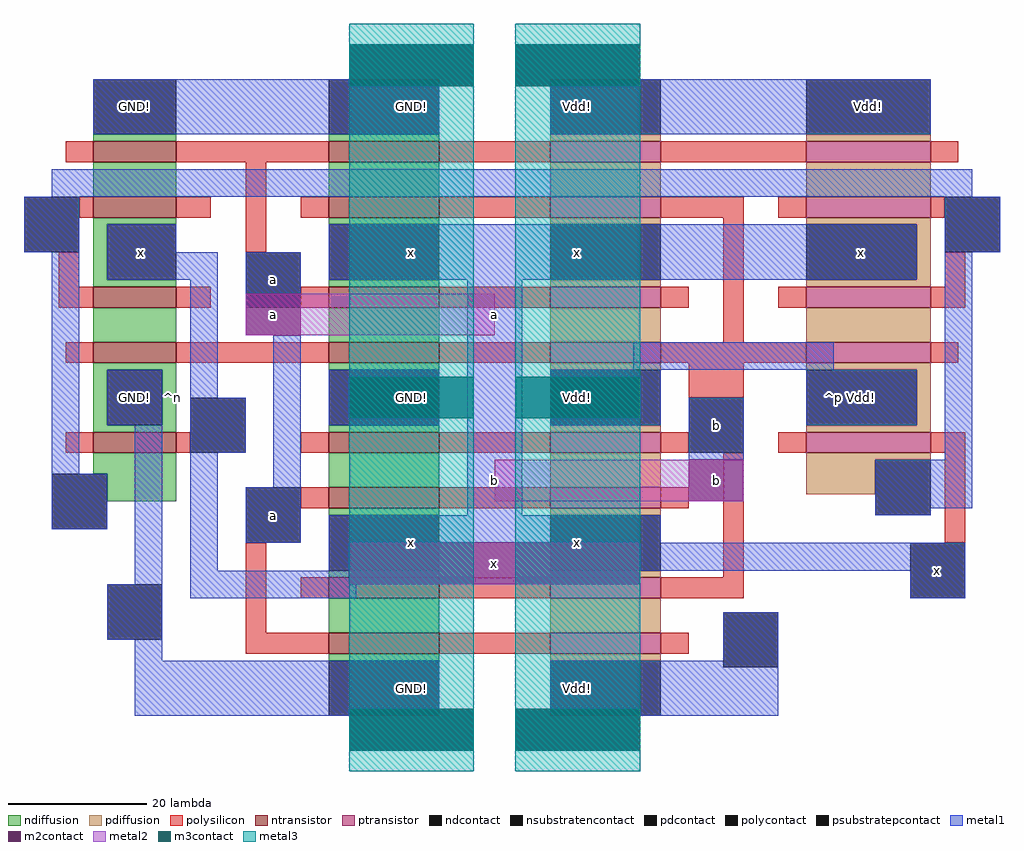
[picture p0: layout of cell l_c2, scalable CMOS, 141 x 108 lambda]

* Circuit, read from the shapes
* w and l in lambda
.subckt l_c2 GND! Vdd! a b x
M1 GND! x n1 GND! nfet w=12 l=3
M2 n2 b GND! GND! nfet w=12 l=3
M3 x n1 n2 GND! nfet w=12 l=3
M4 n3 n1 x GND! nfet w=12 l=3
M5 GND! a n3 GND! nfet w=12 l=3
M6 n4 a GND! GND! nfet w=16 l=3
M7 x b n4 GND! nfet w=16 l=3
M8 n5 a x GND! nfet w=16 l=3
M9 GND! b n5 GND! nfet w=16 l=3
M10 n6 b GND! GND! nfet w=16 l=3
M11 x a n6 GND! nfet w=16 l=3
M12 n7 b x GND! nfet w=16 l=3
M13 GND! a n7 GND! nfet w=16 l=3
M14 n8 a Vdd! Vdd! pfet w=16 l=3
M15 x b n8 Vdd! pfet w=16 l=3
M16 n9 a x Vdd! pfet w=16 l=3
M17 Vdd! b n9 Vdd! pfet w=16 l=3
M18 n10 b Vdd! Vdd! pfet w=16 l=3
M19 x a n10 Vdd! pfet w=16 l=3
M20 n11 b x Vdd! pfet w=16 l=3
M21 Vdd! a n11 Vdd! pfet w=16 l=3
M22 Vdd! x n1 Vdd! pfet w=18 l=3
M23 n12 b Vdd! Vdd! pfet w=18 l=3
M24 x n1 n12 Vdd! pfet w=18 l=3
M25 n13 n1 x Vdd! pfet w=18 l=3
M26 Vdd! a n13 Vdd! pfet w=18 l=3
.ends

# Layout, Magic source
magic
tech scmos
<< ndiffusion >>
rect -58 70 -46 71
rect -24 70 -8 71
rect -58 62 -46 67
rect -58 58 -46 59
rect -58 50 -56 58
rect -58 49 -46 50
rect -24 62 -8 67
rect -24 58 -8 59
rect -24 49 -8 50
rect -58 41 -46 46
rect -24 41 -8 46
rect -58 37 -46 38
rect -58 29 -56 37
rect -48 29 -46 37
rect -24 37 -8 38
rect -58 28 -46 29
rect -24 28 -8 29
rect -58 22 -46 25
rect -56 18 -46 22
rect -24 20 -8 25
rect -24 16 -8 17
rect -24 7 -8 8
rect -24 -1 -8 4
rect -24 -5 -8 -4
<< pdiffusion >>
rect 8 70 24 71
rect 45 70 63 71
rect 8 62 24 67
rect 45 62 63 67
rect 8 58 24 59
rect 8 49 24 50
rect 8 41 24 46
rect 45 58 63 59
rect 61 50 63 58
rect 45 49 63 50
rect 45 41 63 46
rect 8 37 24 38
rect 8 28 24 29
rect 45 37 63 38
rect 61 29 63 37
rect 45 28 63 29
rect 8 20 24 25
rect 8 16 24 17
rect 8 7 24 8
rect 45 24 63 25
rect 45 19 55 24
rect 8 -1 24 4
rect 8 -5 24 -4
<< ntransistor >>
rect -58 67 -46 70
rect -24 67 -8 70
rect -58 59 -46 62
rect -24 59 -8 62
rect -58 46 -46 49
rect -24 46 -8 49
rect -58 38 -46 41
rect -24 38 -8 41
rect -58 25 -46 28
rect -24 25 -8 28
rect -24 17 -8 20
rect -24 4 -8 7
rect -24 -4 -8 -1
<< ptransistor >>
rect 8 67 24 70
rect 45 67 63 70
rect 8 59 24 62
rect 45 59 63 62
rect 8 46 24 49
rect 45 46 63 49
rect 8 38 24 41
rect 45 38 63 41
rect 8 25 24 28
rect 45 25 63 28
rect 8 17 24 20
rect 8 4 24 7
rect 8 -4 24 -1
<< polysilicon >>
rect -62 67 -58 70
rect -46 67 -24 70
rect -8 67 8 70
rect 24 67 45 70
rect 63 67 67 70
rect -60 59 -58 62
rect -46 59 -41 62
rect -63 49 -60 54
rect -36 54 -33 67
rect -28 59 -24 62
rect -8 59 8 62
rect 24 59 36 62
rect 41 59 45 62
rect 63 59 65 62
rect -63 46 -58 49
rect -46 46 -41 49
rect -28 46 -24 49
rect -8 46 8 49
rect 24 46 28 49
rect 33 41 36 59
rect 65 49 68 54
rect 41 46 45 49
rect 63 46 68 49
rect -62 38 -58 41
rect -46 38 -24 41
rect -8 38 8 41
rect 24 38 45 41
rect 63 38 67 41
rect -62 25 -58 28
rect -46 25 -44 28
rect 28 33 36 38
rect -28 25 -24 28
rect -8 25 8 28
rect 24 25 28 28
rect 41 25 45 28
rect 63 25 68 28
rect -28 17 -24 20
rect -8 17 8 20
rect 24 17 28 20
rect -36 -1 -33 12
rect 33 7 36 25
rect 65 12 68 25
rect -28 4 -24 7
rect -8 4 8 7
rect 24 4 36 7
rect -36 -4 -24 -1
rect -8 -4 8 -1
rect 24 -4 28 -1
<< ndcontact >>
rect -58 71 -46 79
rect -24 71 -8 79
rect -56 50 -46 58
rect -24 50 -8 58
rect -56 29 -48 37
rect -24 29 -8 37
rect -64 14 -56 22
rect -24 8 -8 16
rect -24 -13 -8 -5
<< pdcontact >>
rect 8 71 24 79
rect 45 71 63 79
rect 8 50 24 58
rect 45 50 61 58
rect 8 29 24 37
rect 45 29 61 37
rect 8 8 24 16
rect 55 16 63 24
rect 8 -13 24 -5
<< psubstratepcontact >>
rect -56 -2 -48 6
<< nsubstratencontact >>
rect 33 -6 41 2
<< polycontact >>
rect -68 54 -60 62
rect -36 46 -28 54
rect 65 54 73 62
rect -44 25 -36 33
rect 28 25 36 33
rect -36 12 -28 20
rect 60 4 68 12
<< metal1 >>
rect -58 78 -21 79
rect 21 78 63 79
rect -58 71 -8 78
rect 8 71 63 78
rect -64 62 69 66
rect -68 54 -60 62
rect -64 22 -60 54
rect -56 54 -46 58
rect -56 50 -40 54
rect -56 29 -48 37
rect -64 14 -56 22
rect -52 6 -48 29
rect -56 -2 -48 6
rect -44 33 -40 50
rect -36 48 -28 54
rect -24 50 61 58
rect 65 54 73 62
rect -44 25 -36 33
rect -44 8 -40 25
rect -32 20 -28 42
rect -24 36 -8 37
rect -24 30 -21 36
rect -24 29 -8 30
rect -36 12 -28 20
rect -4 16 4 50
rect 20 37 49 41
rect 8 36 24 37
rect 21 30 24 36
rect 8 29 24 30
rect 28 24 36 33
rect 45 29 61 37
rect 65 24 69 54
rect 55 17 69 24
rect 55 16 63 17
rect -24 12 24 16
rect -24 8 -21 12
rect -44 6 -21 8
rect 21 8 68 12
rect -44 4 -20 6
rect 60 4 68 8
rect -52 -5 -48 -2
rect 33 -5 41 2
rect -52 -12 -8 -5
rect 8 -12 41 -5
rect -52 -13 -21 -12
rect 21 -13 41 -12
<< m2contact >>
rect -21 78 -3 84
rect 3 78 21 84
rect -36 42 -28 48
rect -21 30 -8 36
rect 8 30 21 36
rect 28 18 36 24
rect -21 6 21 12
rect -21 -18 -3 -12
rect 3 -18 21 -12
<< metal2 >>
rect -36 42 0 48
rect 0 18 36 24
rect -21 6 21 12
<< m3contact >>
rect -21 78 -3 84
rect 3 78 21 84
rect -21 30 -3 36
rect 3 30 21 36
rect -21 -18 -3 -12
rect 3 -18 21 -12
<< metal3 >>
rect -21 -21 -3 87
rect 3 -21 21 87
<< labels >>
rlabel metal1 -12 54 -12 54 1 x
rlabel metal1 -12 75 -12 75 5 GND!
rlabel metal1 12 54 12 54 1 x
rlabel metal1 12 75 12 75 5 Vdd!
rlabel m2contact 12 33 12 33 1 Vdd!
rlabel metal1 -12 12 -12 12 1 x
rlabel metal1 12 12 12 12 1 x
rlabel metal1 -12 -9 -12 -9 1 GND!
rlabel metal1 12 -9 12 -9 1 Vdd!
rlabel m2contact -12 33 -12 33 1 GND!
rlabel metal1 -52 33 -52 33 1 GND!
rlabel metal1 -52 75 -52 75 5 GND!
rlabel metal1 -51 54 -51 54 1 x
rlabel metal1 -32 50 -32 50 1 a
rlabel metal1 -32 16 -32 16 1 a
rlabel metal1 54 75 54 75 5 Vdd!
rlabel metal1 53 54 53 54 5 x
rlabel metal1 53 33 53 33 1 Vdd!
rlabel metal1 32 29 32 29 1 b
rlabel metal1 64 8 64 8 1 x
rlabel metal2 0 42 0 48 7 a
rlabel metal2 0 18 0 24 3 b
rlabel metal2 0 9 0 9 1 x
rlabel space -69 -14 -24 80 7 ^n
rlabel space 24 -14 74 80 3 ^p
rlabel metal2 -32 45 -32 45 1 a
rlabel metal2 32 21 32 21 1 b
<< end >>
